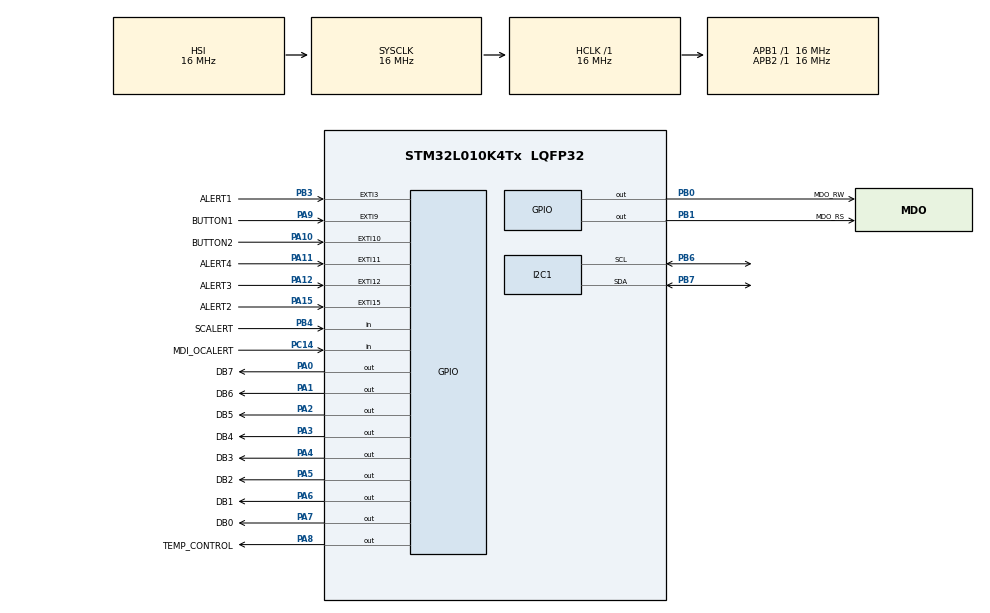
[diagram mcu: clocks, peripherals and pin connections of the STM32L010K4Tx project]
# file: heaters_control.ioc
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I2C1.I2C_Fall_Time=100
I2C1.I2C_Rise_Time=100
I2C1.OwnAddress=96
I2C1.Speed=50
I2C1.Timing=0x00503DF8
Mcu.Family=STM32L0
Mcu.Name=STM32L010K4Tx
Mcu.Package=LQFP32
NVIC.EXTI2_3_IRQn=true\:3\:0\:true\:false\:true\:true\:true\:true
NVIC.EXTI4_15_IRQn=true\:3\:0\:true\:false\:true\:true\:true\:true
PA0-CK_IN.GPIO_Label=DB7
PA0-CK_IN.Signal=GPIO_Output
PA1.GPIO_Label=DB6
PA1.Signal=GPIO_Output
PA10.GPIO_Label=BUTTON2
PA10.Signal=GPXTI10
PA11.GPIO_Label=ALERT4
PA11.Signal=GPXTI11
PA12.GPIO_Label=ALERT3
PA12.Signal=GPXTI12
PA13.Mode=Serial_Wire
PA13.Signal=SYS_SWDIO
PA14.Mode=Serial_Wire
PA14.Signal=SYS_SWCLK
PA15.GPIO_Label=ALERT2
PA15.Signal=GPXTI15
PA2.GPIO_Label=DB5
PA2.Signal=GPIO_Output
PA3.GPIO_Label=DB4
PA3.Signal=GPIO_Output
PA4.GPIO_Label=DB3
PA4.Signal=GPIO_Output
PA5.GPIO_Label=DB2
PA5.Signal=GPIO_Output
PA6.GPIO_Label=DB1
PA6.Signal=GPIO_Output
PA7.GPIO_Label=DB0
PA7.Signal=GPIO_Output
PA8.GPIO_Label=TEMP_CONTROL
PA8.Signal=GPIO_Output
PA9.GPIO_Label=BUTTON1
PA9.Signal=GPXTI9
PB0.GPIO_Label=MDO_RW
PB0.Signal=GPIO_Output
PB1.GPIO_Label=MDO_RS
PB1.Signal=GPIO_Output
PB3.GPIO_Label=ALERT1
PB3.Signal=GPXTI3
PB4.GPIO_Label=SCALERT
PB4.Signal=GPIO_Input
PB6.Mode=I2C
PB6.Signal=I2C1_SCL
PB7.Mode=I2C
PB7.Signal=I2C1_SDA
PC14-OSC32_IN.GPIO_Label=MDI_OCALERT
PC14-OSC32_IN.Signal=GPIO_Input
ProjectManager.HeapSize=0x0
ProjectManager.StackSize=0x400
ProjectManager.TargetToolchain=STM32CubeIDE
RCC.AHBFreq_Value=16000000
RCC.APB1Freq_Value=16000000
RCC.APB1TimFreq_Value=16000000
RCC.APB2Freq_Value=16000000
RCC.APB2TimFreq_Value=16000000
RCC.HCLKFreq_Value=16000000
RCC.HSE_VALUE=8000000
RCC.HSI16_VALUE=16000000
RCC.HSI_VALUE=16000000
RCC.LSE_VALUE=32768
RCC.MSI_VALUE=2097000
RCC.PLLMUL=RCC_PLLMUL_16
RCC.SYSCLKFreq_VALUE=16000000
RCC.SYSCLKSource=RCC_SYSCLKSOURCE_HSI
RCC.VCOOutputFreq_Value=256000000
board=custom

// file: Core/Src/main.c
/* USER CODE BEGIN Header */
/* USER CODE END Header */
#include "main.h"

I2C_HandleTypeDef hi2c1;

/* USER CODE BEGIN PV */
MCP96L01_HandleTypeDef thermocouple;
volatile uint8_t oc_detected = 0; //Disable PWM when OC or SC is detected
volatile uint8_t sc_detected = 0;
signed short target_temp = 308; //Default value before reading from Flash
uint32_t last_temp_read = 0;
signed short current_temp = 0;

const char STR_SET_TEMP[] = "\xA4" "a" "\xE3" ". Te" "\xBA\xBC" ": "; // "Зад. Темп: " (Set temp: )
const char STR_CUR_TEMP[] = "\xA5\xB5\xBA" ". Te" "\xBA\xBC" ": "; // "Изм. Темп: " (Curr temp: )
const char STR_ERR_INIT_1[] = "\xA1" "pe" "\xC0\xB8" "a:         "; // Line 1: "Грешка:         " (Error: ) - 8 chars
const char STR_ERR_INIT_2[] = "\xB6\xBB\xB6\xE5\xB6" "a" "\xBB\xB6\xB5" " ce" "\xBB\xB5" "op"; // Line 2: "инициализ сензор" (init sensor) - 16 chars

/* USER CODE END PV */

void SystemClock_Config(void);
static void MX_GPIO_Init(void);
static void MX_I2C1_Init(void);

int main(void)
{

  /* MCU Configuration--------------------------------------------------------*/

  /* Reset of all peripherals, Initializes the Flash interface and the Systick. */
  HAL_Init();

  /* Configure the system clock */
  SystemClock_Config();

  /* Initialize all configured peripherals */
  MX_GPIO_Init();
  MX_I2C1_Init();
  /* USER CODE BEGIN 2 */

  LCD_Init();

  if( !Read_Int16_From_EEPROM(&target_temp) ){
	  target_temp = 308;
	  Save_Int16_To_EEPROM(target_temp);
  }

  if (MCP96L01_Init(&thermocouple, &hi2c1, MCP96L01_I2C_ADDR) != HAL_OK) {
	  LCD_SetCursor(0, 0);
	  LCD_PrintRaw(STR_ERR_INIT_1);
	  LCD_PrintRaw(STR_ERR_INIT_2);
  }

  // Alert at ALERT1 pin if temperature is above 450C
  MCP96L01_ConfigureAlertLimit(&thermocouple, ALERT_1, 450.0f, 1);

  /* USER CODE END 2 */

  /* Infinite loop */
  /* USER CODE BEGIN WHILE */
  while (1)
  {
	  // 1. Handle UI & Button States instantly
	  Process_UI();

	  // 2. Read temperature at a sensible rate (e.g., 4 times a second)
	  if (HAL_GetTick() - last_temp_read >= 250) {
		  current_temp = MCP96L01_ReadHotJunction(&thermocouple);
		  last_temp_read = HAL_GetTick();
	  }

	  // 3. Update the Heater logic instantly
	  Process_Heater_PI();

    /* USER CODE END WHILE */

  }
}

void SystemClock_Config(void)
{
  RCC_OscInitTypeDef RCC_OscInitStruct = {0};
  RCC_ClkInitTypeDef RCC_ClkInitStruct = {0};
  RCC_PeriphCLKInitTypeDef PeriphClkInit = {0};

  /** Configure the main internal regulator output voltage
  */
  __HAL_PWR_VOLTAGESCALING_CONFIG(PWR_REGULATOR_VOLTAGE_SCALE1);

  /** Initializes the RCC Oscillators according to the specified parameters
  * in the RCC_OscInitTypeDef structure.
  */
  RCC_OscInitStruct.OscillatorType = RCC_OSCILLATORTYPE_HSI;
  RCC_OscInitStruct.HSIState = RCC_HSI_ON;
  RCC_OscInitStruct.HSICalibrationValue = RCC_HSICALIBRATION_DEFAULT;
  RCC_OscInitStruct.PLL.PLLState = RCC_PLL_NONE;
  if (HAL_RCC_OscConfig(&RCC_OscInitStruct) != HAL_OK)
  {
    Error_Handler();
  }

  /** Initializes the CPU, AHB and APB buses clocks
  */
  RCC_ClkInitStruct.ClockType = RCC_CLOCKTYPE_HCLK|RCC_CLOCKTYPE_SYSCLK
                              |RCC_CLOCKTYPE_PCLK1|RCC_CLOCKTYPE_PCLK2;
  RCC_ClkInitStruct.SYSCLKSource = RCC_SYSCLKSOURCE_HSI;
  RCC_ClkInitStruct.AHBCLKDivider = RCC_SYSCLK_DIV1;
  RCC_ClkInitStruct.APB1CLKDivider = RCC_HCLK_DIV1;
  RCC_ClkInitStruct.APB2CLKDivider = RCC_HCLK_DIV1;

  if (HAL_RCC_ClockConfig(&RCC_ClkInitStruct, FLASH_LATENCY_0) != HAL_OK)
  {
    Error_Handler();
  }
  PeriphClkInit.PeriphClockSelection = RCC_PERIPHCLK_I2C1;
  PeriphClkInit.I2c1ClockSelection = RCC_I2C1CLKSOURCE_PCLK1;
  if (HAL_RCCEx_PeriphCLKConfig(&PeriphClkInit) != HAL_OK)
  {
    Error_Handler();
  }
}

static void MX_I2C1_Init(void)
{

  hi2c1.Instance = I2C1;
  hi2c1.Init.Timing = 0x00503DF8;
  hi2c1.Init.OwnAddress1 = 192;
  hi2c1.Init.AddressingMode = I2C_ADDRESSINGMODE_7BIT;
  hi2c1.Init.DualAddressMode = I2C_DUALADDRESS_DISABLE;
  hi2c1.Init.OwnAddress2 = 0;
  hi2c1.Init.OwnAddress2Masks = I2C_OA2_NOMASK;
  hi2c1.Init.GeneralCallMode = I2C_GENERALCALL_DISABLE;
  hi2c1.Init.NoStretchMode = I2C_NOSTRETCH_DISABLE;
  if (HAL_I2C_Init(&hi2c1) != HAL_OK)
  {
    Error_Handler();
  }

  /** Configure Analogue filter
  */
  if (HAL_I2CEx_ConfigAnalogFilter(&hi2c1, I2C_ANALOGFILTER_ENABLE) != HAL_OK)
  {
    Error_Handler();
  }

  /** Configure Digital filter
  */
  if (HAL_I2CEx_ConfigDigitalFilter(&hi2c1, 0) != HAL_OK)
  {
    Error_Handler();
  }

}

static void MX_GPIO_Init(void)
{
  GPIO_InitTypeDef GPIO_InitStruct = {0};

  /* GPIO Ports Clock Enable */
  __HAL_RCC_GPIOC_CLK_ENABLE();
  __HAL_RCC_GPIOA_CLK_ENABLE();
  __HAL_RCC_GPIOB_CLK_ENABLE();

  /*Configure GPIO pin Output Level */
  HAL_GPIO_WritePin(GPIOA, DB7_Pin|DB6_Pin|DB5_Pin|DB4_Pin
                          |DB3_Pin|DB2_Pin|DB1_Pin|DB0_Pin
                          |TEMP_CONTROL_Pin, GPIO_PIN_RESET);

  /*Configure GPIO pin Output Level */
  HAL_GPIO_WritePin(GPIOB, MDO_RW_Pin|MDO_RS_Pin, GPIO_PIN_RESET);

  /*Configure GPIO pin : MDI_OCALERT_Pin */
  GPIO_InitStruct.Pin = MDI_OCALERT_Pin;
  GPIO_InitStruct.Mode = GPIO_MODE_INPUT;
  GPIO_InitStruct.Pull = GPIO_NOPULL;
  HAL_GPIO_Init(MDI_OCALERT_GPIO_Port, &GPIO_InitStruct);

  /*Configure GPIO pins : DB7_Pin DB6_Pin DB5_Pin DB4_Pin
                           DB3_Pin DB2_Pin DB1_Pin DB0_Pin
                           TEMP_CONTROL_Pin */
  GPIO_InitStruct.Pin = DB7_Pin|DB6_Pin|DB5_Pin|DB4_Pin
                          |DB3_Pin|DB2_Pin|DB1_Pin|DB0_Pin
                          |TEMP_CONTROL_Pin;
  GPIO_InitStruct.Mode = GPIO_MODE_OUTPUT_PP;
  GPIO_InitStruct.Pull = GPIO_NOPULL;
  GPIO_InitStruct.Speed = GPIO_SPEED_FREQ_LOW;
  HAL_GPIO_Init(GPIOA, &GPIO_InitStruct);

  /*Configure GPIO pins : MDO_RW_Pin MDO_RS_Pin */
  GPIO_InitStruct.Pin = MDO_RW_Pin|MDO_RS_Pin;
  GPIO_InitStruct.Mode = GPIO_MODE_OUTPUT_PP;
  GPIO_InitStruct.Pull = GPIO_NOPULL;
  GPIO_InitStruct.Speed = GPIO_SPEED_FREQ_LOW;
  HAL_GPIO_Init(GPIOB, &GPIO_InitStruct);

  /*Configure GPIO pins : BUTTON1_Pin BUTTON2_Pin ALERT4_Pin ALERT3_Pin
                           ALERT2_Pin */
  GPIO_InitStruct.Pin = BUTTON1_Pin|BUTTON2_Pin|ALERT4_Pin|ALERT3_Pin
                          |ALERT2_Pin;
  GPIO_InitStruct.Mode = GPIO_MODE_IT_RISING;
  GPIO_InitStruct.Pull = GPIO_NOPULL;
  HAL_GPIO_Init(GPIOA, &GPIO_InitStruct);

  /*Configure GPIO pin : ALERT1_Pin */
  GPIO_InitStruct.Pin = ALERT1_Pin;
  GPIO_InitStruct.Mode = GPIO_MODE_IT_RISING;
  GPIO_InitStruct.Pull = GPIO_NOPULL;
  HAL_GPIO_Init(ALERT1_GPIO_Port, &GPIO_InitStruct);

  /*Configure GPIO pin : SCALERT_Pin */
  GPIO_InitStruct.Pin = SCALERT_Pin;
  GPIO_InitStruct.Mode = GPIO_MODE_INPUT;
  GPIO_InitStruct.Pull = GPIO_NOPULL;
  HAL_GPIO_Init(SCALERT_GPIO_Port, &GPIO_InitStruct);

  /* EXTI interrupt init*/
  HAL_NVIC_SetPriority(EXTI2_3_IRQn, 3, 0);
  HAL_NVIC_EnableIRQ(EXTI2_3_IRQn);

  HAL_NVIC_SetPriority(EXTI4_15_IRQn, 3, 0);
  HAL_NVIC_EnableIRQ(EXTI4_15_IRQn);

}

/* USER CODE BEGIN 4 */
void HAL_GPIO_EXTI_Callback(uint16_t GPIO_Pin)
{
    // Check if the interrupt came from OC or SC pins
    if (GPIO_Pin == MDI_OCALERT_Pin) {
        // 1. SAFETY FIRST: Hard cut power to heater immediately
        HAL_GPIO_WritePin(TEMP_CONTROL_GPIO_Port, TEMP_CONTROL_Pin, GPIO_PIN_RESET);
        oc_detected = 1;
    }
    else if (GPIO_Pin == SCALERT_Pin) {
    	HAL_GPIO_WritePin(TEMP_CONTROL_GPIO_Port, TEMP_CONTROL_Pin, GPIO_PIN_RESET);
    	sc_detected = 1;
    }
}
/* USER CODE END 4 */

void Error_Handler(void)
{
  __disable_irq();
  while (1)
  {
  }
}
